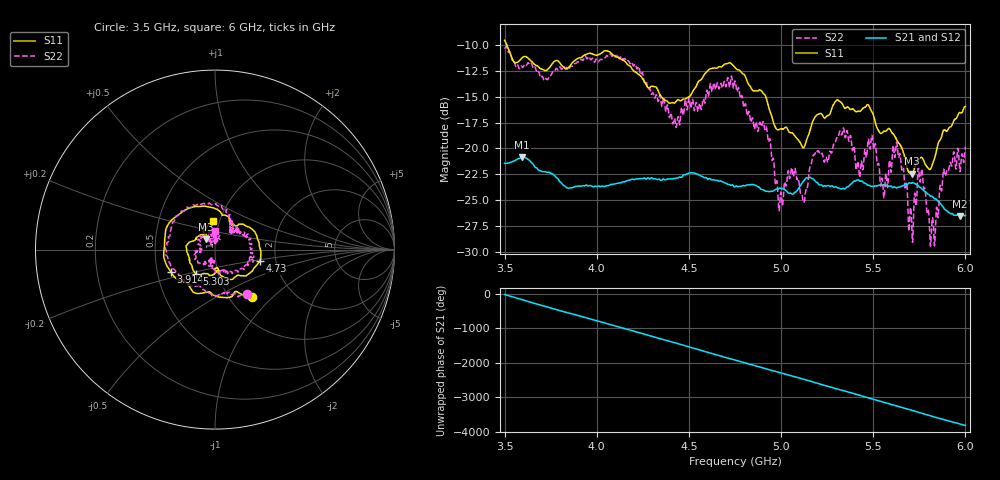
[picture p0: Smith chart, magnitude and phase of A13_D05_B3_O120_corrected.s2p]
! Created with skrf 1.9.0 (http://scikit-rf.org).
# Hz S RI R 50.0
!freq ReS11 ImS11 ReS21 ImS21 ReS12 ImS12 ReS22 ImS22
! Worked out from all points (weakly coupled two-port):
!   1601 points, 3.5 GHz to 6 GHz, reference 50 ohm
!   highest |S21| = -20.84 dB at 3.595 GHz (marker M1); lowest = -26.5 dB at 5.972 GHz (marker M2)
!   lowest |S11| = -22.4 dB at 5.708 GHz (marker M3), VSWR 1.16, Z = 45 + j5.12 ohm
!   |S11| at or under -10 dB: 3.512 GHz to end of sweep
!   |S22| runs from -29.4 to -10.1 dB; largest |S21 - S12| = 0.00094
!   S11 on the Smith chart (normalised r, x): 3.5 GHz: 1.27, -0.75; 3.914 GHz: 0.59, -0.16; 4.73 GHz: 1.65, -0.22; 5.303 GHz: 0.78, -0.22; 6 GHz: 0.93, +0.30
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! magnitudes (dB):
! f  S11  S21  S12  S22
! 3.5 GHz  -9.6  -21.4  -21.4  -10.2
! 3.595 GHz  -11.2  -20.8  -20.8  -12.1
! 3.914 GHz  -11.2  -23.6  -23.6  -11.4
! 3.917 GHz  -11.2  -23.7  -23.6  -11.4
! 4.334 GHz  -14.5  -23.0  -22.9  -15.4
! 4.439 GHz  -15.3  -22.9  -22.8  -17.0
! 4.73 GHz  -11.8  -23.6  -23.5  -13.0
! 4.75 GHz  -12.2  -23.7  -23.6  -13.5
! 4.912 GHz  -14.8  -24.1  -24.1  -18.2
! 4.997 GHz  -18.1  -23.8  -23.8  -24.4
! 5.066 GHz  -18.6  -24.4  -24.4  -22.6
! 5.128 GHz  -19.8  -23.0  -23.0  -24.9
! 5.167 GHz  -17.6  -22.9  -22.9  -21.2
! 5.303 GHz  -15.3  -23.8  -23.7  -18.9
! 5.584 GHz  -18.1  -23.6  -23.6  -21.9
! 5.636 GHz  -19.4  -23.7  -23.7  -20.7
! 5.708 GHz  -22.4  -23.4  -23.3  -26.9
! 5.755 GHz  -20.9  -23.8  -23.7  -23.2
! 5.822 GHz  -21.5  -24.7  -24.6  -26.7
! 5.889 GHz  -18.2  -25.9  -25.9  -22.6
! 5.972 GHz  -16.5  -26.5  -26.5  -22.2
! 6 GHz  -15.9  -26.5  -26.4  -19.8
